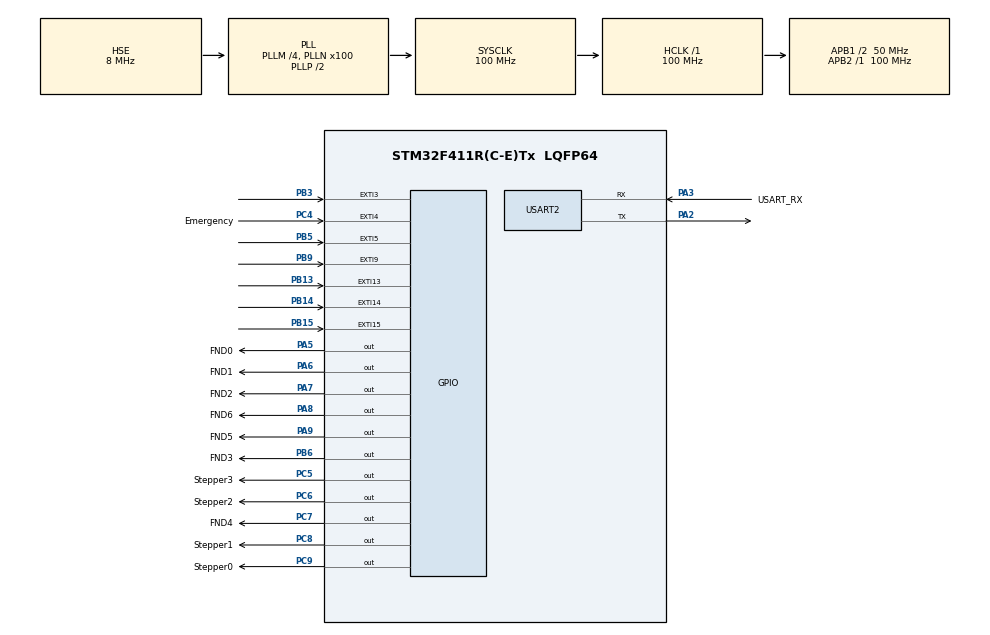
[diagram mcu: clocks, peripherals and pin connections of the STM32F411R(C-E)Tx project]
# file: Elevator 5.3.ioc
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Mcu.Family=STM32F4
Mcu.Name=STM32F411R(C-E)Tx
Mcu.Package=LQFP64
NVIC.EXTI15_10_IRQn=true\:0\:0\:true\:false\:true\:true\:true\:true
NVIC.EXTI3_IRQn=true\:3\:0\:true\:false\:true\:true\:true\:true
NVIC.EXTI4_IRQn=true\:2\:0\:true\:false\:true\:true\:true\:true
NVIC.EXTI9_5_IRQn=true\:3\:0\:true\:false\:true\:true\:true\:true
NVIC.PriorityGroup=NVIC_PRIORITYGROUP_2
NVIC.USART2_IRQn=true\:1\:0\:true\:false\:true\:true\:true\:true
PA13.GPIO_Label=TMS
PA13.Mode=Serial_Wire
PA13.Signal=SYS_JTMS-SWDIO
PA14.GPIO_Label=TCK
PA14.Mode=Serial_Wire
PA14.Signal=SYS_JTCK-SWCLK
PA2.Mode=Asynchronous
PA2.Signal=USART2_TX
PA3.GPIO_Label=USART_RX
PA3.Mode=Asynchronous
PA3.Signal=USART2_RX
PA5.GPIO_Label=FND0
PA5.Signal=GPIO_Output
PA6.GPIO_Label=FND1
PA6.Signal=GPIO_Output
PA7.GPIO_Label=FND2
PA7.Signal=GPIO_Output
PA8.GPIO_Label=FND6
PA8.Signal=GPIO_Output
PA9.GPIO_Label=FND5
PA9.Signal=GPIO_Output
PB13.Signal=GPXTI13
PB14.Signal=GPXTI14
PB15.Signal=GPXTI15
PB3.GPIO_ModeDefaultEXTI=GPIO_MODE_IT_FALLING
PB3.Signal=GPXTI3
PB5.GPIO_ModeDefaultEXTI=GPIO_MODE_IT_FALLING
PB5.Signal=GPXTI5
PB6.GPIO_Label=FND3
PB6.Signal=GPIO_Output
PB9.Signal=GPXTI9
PC4.GPIO_Label=Emergency
PC4.GPIO_ModeDefaultEXTI=GPIO_MODE_IT_FALLING
PC4.Signal=GPXTI4
PC5.GPIO_Label=Stepper3
PC5.GPIO_Speed=GPIO_SPEED_FREQ_VERY_HIGH
PC5.PinState=GPIO_PIN_SET
PC5.Signal=GPIO_Output
PC6.GPIO_Label=Stepper2
PC6.GPIO_Speed=GPIO_SPEED_FREQ_VERY_HIGH
PC6.PinState=GPIO_PIN_SET
PC6.Signal=GPIO_Output
PC7.GPIO_Label=FND4
PC7.Signal=GPIO_Output
PC8.GPIO_Label=Stepper1
PC8.GPIO_Speed=GPIO_SPEED_FREQ_VERY_HIGH
PC8.PinState=GPIO_PIN_SET
PC8.Signal=GPIO_Output
PC9.GPIO_Label=Stepper0
PC9.GPIO_Speed=GPIO_SPEED_FREQ_VERY_HIGH
PC9.PinState=GPIO_PIN_SET
PC9.Signal=GPIO_Output
PH0\ -\ OSC_IN.Mode=HSE-External-Oscillator
PH0\ -\ OSC_IN.Signal=RCC_OSC_IN
PH1\ -\ OSC_OUT.Mode=HSE-External-Oscillator
PH1\ -\ OSC_OUT.Signal=RCC_OSC_OUT
ProjectManager.HeapSize=0x200
ProjectManager.StackSize=0x400
ProjectManager.TargetToolchain=STM32CubeIDE
RCC.48MHZClocksFreq_Value=50000000
RCC.AHBFreq_Value=100000000
RCC.APB1CLKDivider=RCC_HCLK_DIV2
RCC.APB1Freq_Value=50000000
RCC.APB1TimFreq_Value=100000000
RCC.APB2Freq_Value=100000000
RCC.APB2TimFreq_Value=100000000
RCC.CortexFreq_Value=100000000
RCC.FLatency-AdvancedSettings=FLASH_LATENCY_3
RCC.HCLKFreq_Value=100000000
RCC.HSE_VALUE=8000000
RCC.HSI_VALUE=16000000
RCC.LSE_VALUE=32768
RCC.PLLM=4
RCC.PLLN=100
RCC.PLLSourceVirtual=RCC_PLLSOURCE_HSE
RCC.SYSCLKFreq_VALUE=100000000
RCC.SYSCLKSource=RCC_SYSCLKSOURCE_PLLCLK
RCC.VCOOutputFreq_Value=200000000
TIM10.Prescaler=99
USART2.VirtualMode=VM_ASYNC
VP_TIM10_VS_ClockSourceINT.Mode=Enable_Timer
board=NUCLEO-F411RE

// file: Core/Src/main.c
/* USER CODE BEGIN Header */
/**
  ******************************************************************************
  * @file           : main.c
  * @brief          : Main program body
  ******************************************************************************
  * @attention
  *
  * Copyright (c) 2024 STMicroelectronics.
  * All rights reserved.
  *
  * This software is licensed under terms that can be found in the LICENSE file
  * in the root directory of this software component.
  * If no LICENSE file comes with this software, it is provided AS-IS.
  *
  ******************************************************************************
  */
/* USER CODE END Header */
#include "main.h"

/* USER CODE BEGIN Includes */
#include "stepper.h"
#include "button.h"
#include "led.h"
#include "uart.h"
#include "external_int.h"
#include "fnd.h"
/* USER CODE END Includes */

TIM_HandleTypeDef htim10;

UART_HandleTypeDef huart2;

/* USER CODE BEGIN PV */
uint8_t rxData;
uint8_t rxData1;

extern uint8_t currentFloor;

/* USER CODE END PV */

void SystemClock_Config(void);
static void MX_GPIO_Init(void);
static void MX_USART2_UART_Init(void);
static void MX_TIM10_Init(void);

int main(void)
{

  /* MCU Configuration--------------------------------------------------------*/

  /* Reset of all peripherals, Initializes the Flash interface and the Systick. */
  HAL_Init();

  /* Configure the system clock */
  SystemClock_Config();

  /* Initialize all configured peripherals */
  MX_GPIO_Init();
  MX_USART2_UART_Init();
  MX_TIM10_Init();
  /* USER CODE BEGIN 2 */
  HAL_UART_Receive_IT(&huart2, &rxData, sizeof(rxData));
  FND_Init();
  /* USER CODE END 2 */

  /* Infinite loop */
  /* USER CODE BEGIN WHILE */
  while (1)
  {
	  RotationUp();
	  HAL_Delay(100);
	  RotationDown();
	  HAL_Delay(100);
    /* USER CODE END WHILE */

  }
}

void SystemClock_Config(void)
{
  RCC_OscInitTypeDef RCC_OscInitStruct = {0};
  RCC_ClkInitTypeDef RCC_ClkInitStruct = {0};

  /** Configure the main internal regulator output voltage
  */
  __HAL_RCC_PWR_CLK_ENABLE();
  __HAL_PWR_VOLTAGESCALING_CONFIG(PWR_REGULATOR_VOLTAGE_SCALE1);

  /** Initializes the RCC Oscillators according to the specified parameters
  * in the RCC_OscInitTypeDef structure.
  */
  RCC_OscInitStruct.OscillatorType = RCC_OSCILLATORTYPE_HSE;
  RCC_OscInitStruct.HSEState = RCC_HSE_ON;
  RCC_OscInitStruct.PLL.PLLState = RCC_PLL_ON;
  RCC_OscInitStruct.PLL.PLLSource = RCC_PLLSOURCE_HSE;
  RCC_OscInitStruct.PLL.PLLM = 4;
  RCC_OscInitStruct.PLL.PLLN = 100;
  RCC_OscInitStruct.PLL.PLLP = RCC_PLLP_DIV2;
  RCC_OscInitStruct.PLL.PLLQ = 4;
  if (HAL_RCC_OscConfig(&RCC_OscInitStruct) != HAL_OK)
  {
    Error_Handler();
  }

  /** Initializes the CPU, AHB and APB buses clocks
  */
  RCC_ClkInitStruct.ClockType = RCC_CLOCKTYPE_HCLK|RCC_CLOCKTYPE_SYSCLK
                              |RCC_CLOCKTYPE_PCLK1|RCC_CLOCKTYPE_PCLK2;
  RCC_ClkInitStruct.SYSCLKSource = RCC_SYSCLKSOURCE_PLLCLK;
  RCC_ClkInitStruct.AHBCLKDivider = RCC_SYSCLK_DIV1;
  RCC_ClkInitStruct.APB1CLKDivider = RCC_HCLK_DIV2;
  RCC_ClkInitStruct.APB2CLKDivider = RCC_HCLK_DIV1;

  if (HAL_RCC_ClockConfig(&RCC_ClkInitStruct, FLASH_LATENCY_3) != HAL_OK)
  {
    Error_Handler();
  }
}

static void MX_TIM10_Init(void)
{

  htim10.Instance = TIM10;
  htim10.Init.Prescaler = 99;
  htim10.Init.CounterMode = TIM_COUNTERMODE_UP;
  htim10.Init.Period = 65535;
  htim10.Init.ClockDivision = TIM_CLOCKDIVISION_DIV1;
  htim10.Init.AutoReloadPreload = TIM_AUTORELOAD_PRELOAD_DISABLE;
  if (HAL_TIM_Base_Init(&htim10) != HAL_OK)
  {
    Error_Handler();
  }

}

static void MX_USART2_UART_Init(void)
{

  huart2.Instance = USART2;
  huart2.Init.BaudRate = 115200;
  huart2.Init.WordLength = UART_WORDLENGTH_8B;
  huart2.Init.StopBits = UART_STOPBITS_1;
  huart2.Init.Parity = UART_PARITY_NONE;
  huart2.Init.Mode = UART_MODE_TX_RX;
  huart2.Init.HwFlowCtl = UART_HWCONTROL_NONE;
  huart2.Init.OverSampling = UART_OVERSAMPLING_16;
  if (HAL_UART_Init(&huart2) != HAL_OK)
  {
    Error_Handler();
  }

}

static void MX_GPIO_Init(void)
{
  GPIO_InitTypeDef GPIO_InitStruct = {0};

  /* GPIO Ports Clock Enable */
  __HAL_RCC_GPIOH_CLK_ENABLE();
  __HAL_RCC_GPIOA_CLK_ENABLE();
  __HAL_RCC_GPIOC_CLK_ENABLE();
  __HAL_RCC_GPIOB_CLK_ENABLE();

  /*Configure GPIO pin Output Level */
  HAL_GPIO_WritePin(GPIOA, FND0_Pin|FND1_Pin|FND2_Pin|FND6_Pin
                          |FND5_Pin, GPIO_PIN_RESET);

  /*Configure GPIO pin Output Level */
  HAL_GPIO_WritePin(GPIOC, Stepper3_Pin|Stepper2_Pin|Stepper1_Pin|Stepper0_Pin, GPIO_PIN_SET);

  /*Configure GPIO pin Output Level */
  HAL_GPIO_WritePin(FND4_GPIO_Port, FND4_Pin, GPIO_PIN_RESET);

  /*Configure GPIO pin Output Level */
  HAL_GPIO_WritePin(FND3_GPIO_Port, FND3_Pin, GPIO_PIN_RESET);

  /*Configure GPIO pins : FND0_Pin FND1_Pin FND2_Pin FND6_Pin
                           FND5_Pin */
  GPIO_InitStruct.Pin = FND0_Pin|FND1_Pin|FND2_Pin|FND6_Pin
                          |FND5_Pin;
  GPIO_InitStruct.Mode = GPIO_MODE_OUTPUT_PP;
  GPIO_InitStruct.Pull = GPIO_NOPULL;
  GPIO_InitStruct.Speed = GPIO_SPEED_FREQ_LOW;
  HAL_GPIO_Init(GPIOA, &GPIO_InitStruct);

  /*Configure GPIO pin : Emergency_Pin */
  GPIO_InitStruct.Pin = Emergency_Pin;
  GPIO_InitStruct.Mode = GPIO_MODE_IT_FALLING;
  GPIO_InitStruct.Pull = GPIO_NOPULL;
  HAL_GPIO_Init(Emergency_GPIO_Port, &GPIO_InitStruct);

  /*Configure GPIO pins : Stepper3_Pin Stepper2_Pin Stepper1_Pin Stepper0_Pin */
  GPIO_InitStruct.Pin = Stepper3_Pin|Stepper2_Pin|Stepper1_Pin|Stepper0_Pin;
  GPIO_InitStruct.Mode = GPIO_MODE_OUTPUT_PP;
  GPIO_InitStruct.Pull = GPIO_NOPULL;
  GPIO_InitStruct.Speed = GPIO_SPEED_FREQ_VERY_HIGH;
  HAL_GPIO_Init(GPIOC, &GPIO_InitStruct);

  /*Configure GPIO pins : PB13 PB14 PB15 PB9 */
  GPIO_InitStruct.Pin = GPIO_PIN_13|GPIO_PIN_14|GPIO_PIN_15|GPIO_PIN_9;
  GPIO_InitStruct.Mode = GPIO_MODE_IT_RISING;
  GPIO_InitStruct.Pull = GPIO_NOPULL;
  HAL_GPIO_Init(GPIOB, &GPIO_InitStruct);

  /*Configure GPIO pin : FND4_Pin */
  GPIO_InitStruct.Pin = FND4_Pin;
  GPIO_InitStruct.Mode = GPIO_MODE_OUTPUT_PP;
  GPIO_InitStruct.Pull = GPIO_NOPULL;
  GPIO_InitStruct.Speed = GPIO_SPEED_FREQ_LOW;
  HAL_GPIO_Init(FND4_GPIO_Port, &GPIO_InitStruct);

  /*Configure GPIO pins : PB3 PB5 */
  GPIO_InitStruct.Pin = GPIO_PIN_3|GPIO_PIN_5;
  GPIO_InitStruct.Mode = GPIO_MODE_IT_FALLING;
  GPIO_InitStruct.Pull = GPIO_NOPULL;
  HAL_GPIO_Init(GPIOB, &GPIO_InitStruct);

  /*Configure GPIO pin : FND3_Pin */
  GPIO_InitStruct.Pin = FND3_Pin;
  GPIO_InitStruct.Mode = GPIO_MODE_OUTPUT_PP;
  GPIO_InitStruct.Pull = GPIO_NOPULL;
  GPIO_InitStruct.Speed = GPIO_SPEED_FREQ_LOW;
  HAL_GPIO_Init(FND3_GPIO_Port, &GPIO_InitStruct);

  /* EXTI interrupt init*/
  HAL_NVIC_SetPriority(EXTI3_IRQn, 3, 0);
  HAL_NVIC_EnableIRQ(EXTI3_IRQn);

  HAL_NVIC_SetPriority(EXTI4_IRQn, 2, 0);
  HAL_NVIC_EnableIRQ(EXTI4_IRQn);

  HAL_NVIC_SetPriority(EXTI9_5_IRQn, 3, 0);
  HAL_NVIC_EnableIRQ(EXTI9_5_IRQn);

  HAL_NVIC_SetPriority(EXTI15_10_IRQn, 0, 0);
  HAL_NVIC_EnableIRQ(EXTI15_10_IRQn);

}

void Error_Handler(void)
{
  __disable_irq();
  while (1)
  {
  }
}
